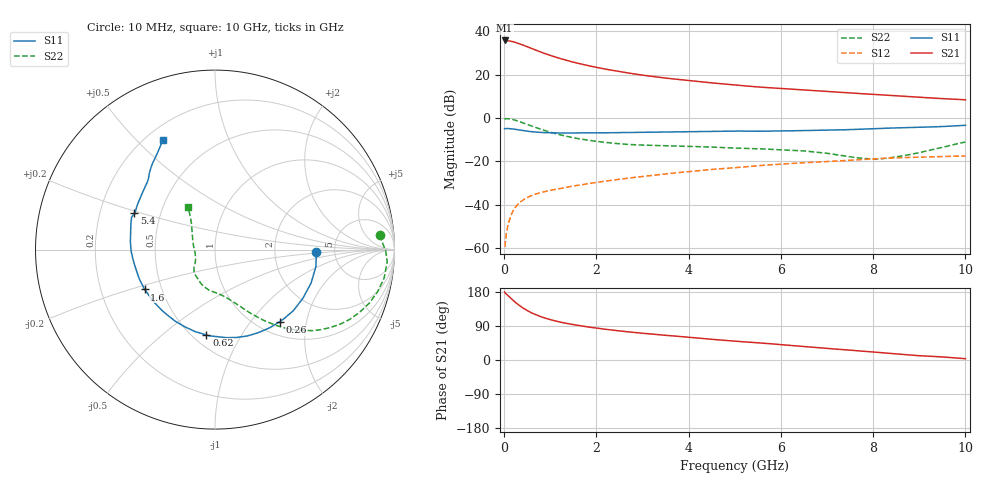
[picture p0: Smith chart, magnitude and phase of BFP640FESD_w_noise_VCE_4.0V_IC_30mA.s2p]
! Infineon Technologies  Discrete & RF Semiconductors
! BFP640FESD
! VCE =  4.0 V,  IC =  30 mA
! Common Emitter S-Parameters:  Jan 2016
# GHz  S  MA  R  50
!  f  S11  S21  S12  S22
! GHz  MAG  ANG  MAG  ANG  MAG  ANG  MAG  ANG
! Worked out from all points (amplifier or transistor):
!   233 points, 10 MHz to 10 GHz, reference 50 ohm
!   highest |S21| = 35.7 dB at 10 MHz (marker M1)
!   |S21| within 3 dB of that: start of sweep to 511.8 MHz
!   unconditionally stable (mu >= 1): start of sweep to 15 MHz; 3.307 GHz to end of sweep
!   at 200 MHz: K = 0.23, MSG = 38.9 dB, |S12| = -42.6 dB
!   at 1.74 GHz: K = 0.84, MSG = 27.6 dB, |S12| = -30.6 dB
!   at 10 GHz: K = 1.06, MAG = 11.4 dB, |S12| = -17.6 dB
!   lowest NFmin = 1.07 dB at 450 MHz
!   S11 on the Smith chart (normalised r, x): 10 MHz: 3.58, -0.11; 260 MHz: 1.24, -1.41; 620 MHz: 0.58, -0.72; 1.6 GHz: 0.40, -0.22; 5.4 GHz: 0.35, +0.19; 10 GHz: 0.27, +0.60
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0.01  0.5635 -1.1  60.99 179.4  0.0011 44.9  0.9202 5.0
0.02  0.5651 -3.5  60.66 176.8  0.0011 62.7  0.9519 -0.6
0.1  0.5668 -19.1  59.75 168.3  0.0039 75.4  0.9557 -9.5
0.15  0.56 -28.9  58.59 162.4  0.0056 73.2  0.9356 -14.6
0.2  0.5536 -37.8  56.97 156.9  0.0074 70.6  0.9094 -19.2
0.26  0.5399 -48.1  54.37 150.5  0.0091 68.4  0.8716 -24.2
0.32  0.5269 -57.8  51.82 144.8  0.0108 65.8  0.8305 -28.8
0.4  0.5136 -69.6  48.17 137.9  0.0126 63.0  0.7747 -34.1
0.5  0.4947 -82.7  43.69 130.4  0.0146 60.1  0.7071 -39.7
0.62  0.478 -95.7  38.82 123.0  0.0166 57.8  0.6342 -44.9
0.8  0.4614 -111.7  32.72 114.1  0.019 55.9  0.5444 -51.0
1  0.4514 -125.3  27.56 106.5  0.0213 55.3  0.4679 -56.2
1.3  0.4487 -140.0  22 97.8  0.0246 55.6  0.3872 -62.3
1.6  0.4512 -150.5  18.15 91.2  0.0279 56.5  0.3327 -67.6
1.68  0.4498 -152.9  17.34 89.6  0.0288 56.7  0.3219 -68.9
2.4  0.4557 -168.9  12.18 78.1  0.0372 58.0  0.2581 -81.2
3.4  0.4719 175.8  8.536 66.3  0.0496 57.5  0.2299 -97.0
5.1  0.4967 158.1  5.604 48.8  0.0724 52.8  0.1996 -114.9
5.4  0.4924 155.8  5.27 46.3  0.0773 52.1  0.1955 -116.2
6.8  0.5165 140.7  4.179 32.5  0.0958 44.5  0.1603 -136.8
8.4  0.5832 127.5  3.279 16.9  0.1187 35.6  0.1218 169.9
10  0.6748 115.6  2.613 3.4  0.132 25.1  0.2779 122.4
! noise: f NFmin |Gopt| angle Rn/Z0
0.45  1.07  0.19  -172  0.08
2.4  1.09  0.24  -171  0.1
5.5  1.31  0.29  -157  0.1
10  1.83  0.45  -105  0.31
